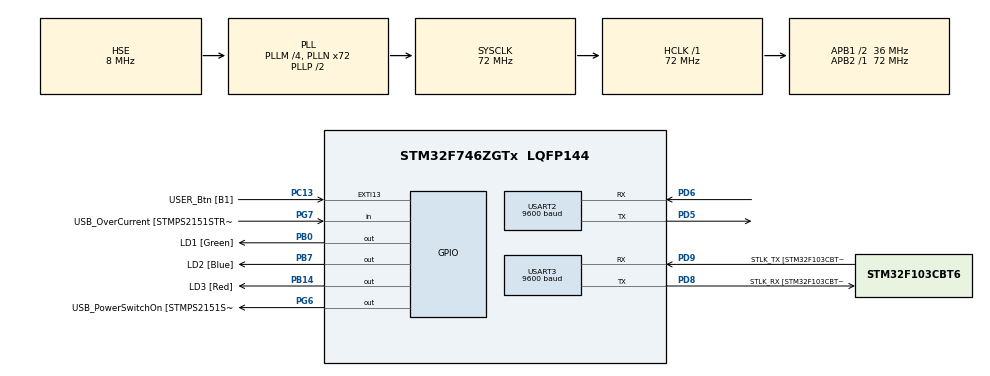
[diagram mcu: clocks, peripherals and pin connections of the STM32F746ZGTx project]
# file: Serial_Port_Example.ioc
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Mcu.Family=STM32F7
Mcu.Name=STM32F746ZGTx
Mcu.Package=LQFP144
NVIC.EXTI15_10_IRQn=true\:0\:0\:false\:false\:true\:true\:true
NVIC.PriorityGroup=NVIC_PRIORITYGROUP_4
NVIC.USART2_IRQn=true\:0\:0\:false\:false\:true\:true\:true
PA1.GPIO_Label=RMII_REF_CLK [LAN8742A-CZ-TR_REFCLK0]
PA1.Signal=ETH_REF_CLK
PA10.GPIO_Label=USB_ID
PA10.Signal=USB_OTG_FS_ID
PA11.GPIO_Label=USB_DM
PA11.Signal=USB_OTG_FS_DM
PA12.GPIO_Label=USB_DP
PA12.Signal=USB_OTG_FS_DP
PA13.GPIO_Label=TMS
PA13.Mode=Serial_Wire
PA13.Signal=SYS_JTMS-SWDIO
PA14.GPIO_Label=TCK
PA14.Mode=Serial_Wire
PA14.Signal=SYS_JTCK-SWCLK
PA2.GPIO_Label=RMII_MDIO [LAN8742A-CZ-TR_MDIO]
PA2.Signal=ETH_MDIO
PA7.GPIO_Label=RMII_CRS_DV [LAN8742A-CZ-TR_CRS_DV]
PA7.Signal=ETH_CRS_DV
PA8.GPIO_Label=USB_SOF [TP1]
PA8.Signal=USB_OTG_FS_SOF
PA9.GPIO_Label=USB_VBUS
PA9.Signal=USB_OTG_FS_VBUS
PB0.GPIO_Label=LD1 [Green]
PB0.Signal=GPIO_Output
PB13.GPIO_Label=RMII_TXD1 [LAN8742A-CZ-TR_TXD1]
PB13.Signal=ETH_TXD1
PB14.GPIO_Label=LD3 [Red]
PB14.Signal=GPIO_Output
PB3.GPIO_Label=SW0
PB3.Signal=SYS_JTDO-SWO
PB7.GPIO_Label=LD2 [Blue]
PB7.Signal=GPIO_Output
PC1.GPIO_Label=RMII_MDC [LAN8742A-CZ-TR_MDC]
PC1.Signal=ETH_MDC
PC13.GPIO_Label=USER_Btn [B1]
PC13.Signal=GPXTI13
PC14/OSC32_IN.Mode=LSE-External-Oscillator
PC14/OSC32_IN.Signal=RCC_OSC32_IN
PC15/OSC32_OUT.Mode=LSE-External-Oscillator
PC15/OSC32_OUT.Signal=RCC_OSC32_OUT
PC4.GPIO_Label=RMII_RXD0 [LAN8742A-CZ-TR_RXD0]
PC4.Signal=ETH_RXD0
PC5.GPIO_Label=RMII_RXD1 [LAN8742A-CZ-TR_RXD1]
PC5.Signal=ETH_RXD1
PD5.Mode=Asynchronous
PD5.Signal=USART2_TX
PD6.Mode=Asynchronous
PD6.Signal=USART2_RX
PD8.GPIO_Label=STLK_RX [STM32F103CBT6_PA3]
PD8.Mode=Asynchronous
PD8.Signal=USART3_TX
PD9.GPIO_Label=STLK_TX [STM32F103CBT6_PA2]
PD9.Mode=Asynchronous
PD9.Signal=USART3_RX
PG11.GPIO_Label=RMII_TX_EN [LAN8742A-CZ-TR_TXEN]
PG11.Signal=ETH_TX_EN
PG13.GPIO_Label=RMII_TXD0 [LAN8742A-CZ-TR_TXD0]
PG13.Signal=ETH_TXD0
PG6.GPIO_Label=USB_PowerSwitchOn [STMPS2151STR_EN]
PG6.Signal=GPIO_Output
PG7.GPIO_Label=USB_OverCurrent [STMPS2151STR_FAULT]
PG7.Signal=GPIO_Input
PH0/OSC_IN.GPIO_Label=MCO [STM32F103CBT6_PA8]
PH0/OSC_IN.Mode=HSE-External-Clock-Source
PH0/OSC_IN.Signal=RCC_OSC_IN
PH1/OSC_OUT.Mode=HSE-External-Clock-Source
PH1/OSC_OUT.Signal=RCC_OSC_OUT
ProjectManager.HeapSize=0x200
ProjectManager.StackSize=0x400
ProjectManager.TargetToolchain=STM32CubeIDE
RCC.48MHZClocksFreq_Value=24000000
RCC.AHBFreq_Value=72000000
RCC.APB1CLKDivider=RCC_HCLK_DIV2
RCC.APB1Freq_Value=36000000
RCC.APB1TimFreq_Value=72000000
RCC.APB2Freq_Value=72000000
RCC.APB2TimFreq_Value=72000000
RCC.CortexFreq_Value=72000000
RCC.HCLKFreq_Value=72000000
RCC.HSE_VALUE=8000000
RCC.HSI_VALUE=16000000
RCC.PLLM=4
RCC.PLLMUL=RCC_PLL_MUL9
RCC.PLLN=72
RCC.PLLQ=3
RCC.PLLSourceVirtual=RCC_PLLSOURCE_HSE
RCC.PRESCALERUSB=RCC_USBCLKSOURCE_PLL_DIV1_5
RCC.SYSCLKFreq_VALUE=72000000
RCC.SYSCLKSource=RCC_SYSCLKSOURCE_PLLCLK
RCC.SYSCLKSourceVirtual=RCC_SYSCLKSOURCE_PLLCLK
RCC.USBFreq_Value=48000000
RCC.VCOOutputFreq_Value=144000000
USART2.BaudRate=9600
USART2.VirtualMode-Asynchronous=VM_ASYNC
USART3.BaudRate=9600
USART3.VirtualMode-Asynchronous=VM_ASYNC
board=NUCLEO-F746ZG

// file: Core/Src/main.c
/* USER CODE BEGIN Header */
/**
  ******************************************************************************
  * @file           : main.c
  * @brief          : Main program body
  ******************************************************************************
  * @attention
  *
  * <h2><center>&copy; Copyright (c) 2021 STMicroelectronics.
  * All rights reserved.</center></h2>
  *
  * This software component is licensed by ST under BSD 3-Clause license,
  * the "License"; You may not use this file except in compliance with the
  * License. You may obtain a copy of the License at:
  *                        opensource.org/licenses/BSD-3-Clause
  *
  ******************************************************************************
  */
/* USER CODE END Header */
#include "main.h"
#include "usart.h"
#include "gpio.h"

/* USER CODE BEGIN Includes */
#include "serial_port_lib.h"
#include <stdio.h>
#include <string.h>
/* USER CODE END Includes */

void SystemClock_Config(void);

int main(void)
{

  /* MCU Configuration--------------------------------------------------------*/

  /* Reset of all peripherals, Initializes the Flash interface and the Systick. */
  HAL_Init();

  /* Configure the system clock */
  SystemClock_Config();

  /* Initialize all configured peripherals */
  MX_GPIO_Init();
  MX_USART3_UART_Init();
  MX_USART2_UART_Init();

  /* Infinite loop */
  /* USER CODE BEGIN WHILE */
  SERIAL_PORT_Handle handle;
  int status;

  status = SERIAL_PORT_Init(&handle);

  printf("Initialization status: %s \r\n", (status == 0) ? "OK" : "ERROR");

  status = SERIAL_PORT_WriteString(handle, "Hello, World!\r\n");

  printf("Writing status: %s \r\n", (status == 0) ? "OK" : "ERROR");

  char msg[20] = { 0 }; // MAX MESSAGE SIZE: 17 CHARACTERS!

  while (1)
  {
    status = SERIAL_PORT_ReadLine(handle, msg);

    printf("Reading status: %s \r\n", (status == 0) ? "OK" : "ERROR");
    printf("Message: %s", msg);
    printf("Message length: %d\r\n", (int)strlen(msg));

    //if(strcmp(msg, "CLOSE\r\n") == 0)
    //   break;

    status = SERIAL_PORT_WriteString(handle, msg);

    printf("Writing status: %s \r\n", (status == 0) ? "OK" : "ERROR");

    memset(msg, 0, sizeof(msg));
    /* USER CODE END WHILE */

  }
}

void SystemClock_Config(void)
{
  RCC_OscInitTypeDef RCC_OscInitStruct = {0};
  RCC_ClkInitTypeDef RCC_ClkInitStruct = {0};
  RCC_PeriphCLKInitTypeDef PeriphClkInitStruct = {0};

  /** Configure LSE Drive Capability
  */
  HAL_PWR_EnableBkUpAccess();
  /** Configure the main internal regulator output voltage
  */
  __HAL_RCC_PWR_CLK_ENABLE();
  __HAL_PWR_VOLTAGESCALING_CONFIG(PWR_REGULATOR_VOLTAGE_SCALE3);
  /** Initializes the RCC Oscillators according to the specified parameters
  * in the RCC_OscInitTypeDef structure.
  */
  RCC_OscInitStruct.OscillatorType = RCC_OSCILLATORTYPE_HSE;
  RCC_OscInitStruct.HSEState = RCC_HSE_BYPASS;
  RCC_OscInitStruct.PLL.PLLState = RCC_PLL_ON;
  RCC_OscInitStruct.PLL.PLLSource = RCC_PLLSOURCE_HSE;
  RCC_OscInitStruct.PLL.PLLM = 4;
  RCC_OscInitStruct.PLL.PLLN = 72;
  RCC_OscInitStruct.PLL.PLLP = RCC_PLLP_DIV2;
  RCC_OscInitStruct.PLL.PLLQ = 3;
  if (HAL_RCC_OscConfig(&RCC_OscInitStruct) != HAL_OK)
  {
    Error_Handler();
  }
  /** Initializes the CPU, AHB and APB buses clocks
  */
  RCC_ClkInitStruct.ClockType = RCC_CLOCKTYPE_HCLK|RCC_CLOCKTYPE_SYSCLK
                              |RCC_CLOCKTYPE_PCLK1|RCC_CLOCKTYPE_PCLK2;
  RCC_ClkInitStruct.SYSCLKSource = RCC_SYSCLKSOURCE_PLLCLK;
  RCC_ClkInitStruct.AHBCLKDivider = RCC_SYSCLK_DIV1;
  RCC_ClkInitStruct.APB1CLKDivider = RCC_HCLK_DIV2;
  RCC_ClkInitStruct.APB2CLKDivider = RCC_HCLK_DIV1;

  if (HAL_RCC_ClockConfig(&RCC_ClkInitStruct, FLASH_LATENCY_2) != HAL_OK)
  {
    Error_Handler();
  }
  PeriphClkInitStruct.PeriphClockSelection = RCC_PERIPHCLK_USART2|RCC_PERIPHCLK_USART3;
  PeriphClkInitStruct.Usart2ClockSelection = RCC_USART2CLKSOURCE_PCLK1;
  PeriphClkInitStruct.Usart3ClockSelection = RCC_USART3CLKSOURCE_PCLK1;
  if (HAL_RCCEx_PeriphCLKConfig(&PeriphClkInitStruct) != HAL_OK)
  {
    Error_Handler();
  }
}

/* USER CODE BEGIN 4 */
int _write(int file, char *ptr, int len)
{
  HAL_UART_Transmit(&huart2, (uint8_t*)ptr, len, 0xFFFF);
  return len;
}
/* USER CODE END 4 */

void Error_Handler(void)
{
  __disable_irq();
  while (1)
  {
  }
}

/************************ (C) COPYRIGHT STMicroelectronics *****END OF FILE****/
